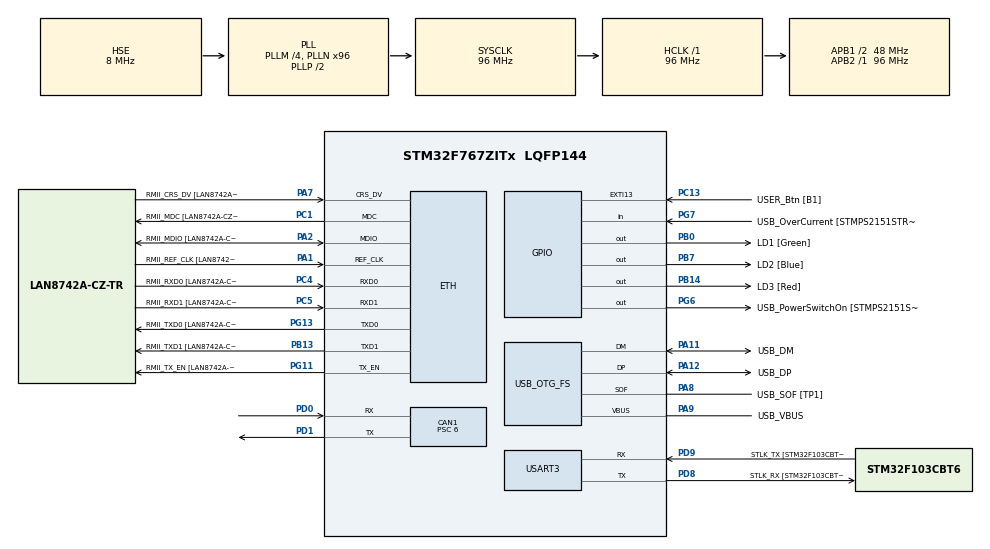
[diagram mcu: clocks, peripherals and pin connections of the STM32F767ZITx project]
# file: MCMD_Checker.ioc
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CAN1.BS1=CAN_BS1_6TQ
CAN1.CalculateBaudRate=1000000
CAN1.CalculateTimeBit=1000
CAN1.CalculateTimeQuantum=125.0
CAN1.Prescaler=6
CAN1.TXFP=ENABLE
Dma.Request0=USART3_TX
Dma.USART3_TX.0.Direction=DMA_MEMORY_TO_PERIPH
Dma.USART3_TX.0.FIFOMode=DMA_FIFOMODE_DISABLE
Dma.USART3_TX.0.Instance=DMA1_Stream3
Dma.USART3_TX.0.MemDataAlignment=DMA_MDATAALIGN_BYTE
Dma.USART3_TX.0.MemInc=DMA_MINC_ENABLE
Dma.USART3_TX.0.Mode=DMA_NORMAL
Dma.USART3_TX.0.PeriphDataAlignment=DMA_PDATAALIGN_BYTE
Dma.USART3_TX.0.PeriphInc=DMA_PINC_DISABLE
Dma.USART3_TX.0.Priority=DMA_PRIORITY_LOW
ETH.MediaInterface=HAL_ETH_RMII_MODE
ETH.PHY_Name=LAN8742A_PHY_ADDRESS
ETH.PHY_Value=0
ETH.PhyAddress=0
ETH.RxMode=ETH_RXINTERRUPT_MODE
FREERTOS.Tasks01=defaultTask,0,512,StartDefaultTask,Default,NULL,Static,defaultTaskBuffer,defaultTaskControlBlock;systemCheckTask,-1,512,StartSystemCheckTask,Default,NULL,Static,systemCheckTaskBuffer,systemCheckTaskControlBlock
FREERTOS.configENABLE_FPU=1
FREERTOS.configUSE_NEWLIB_REENTRANT=1
FREERTOS.configUSE_TIMERS=1
Mcu.Family=STM32F7
Mcu.Name=STM32F767ZITx
Mcu.Package=LQFP144
NVIC.CAN1_RX0_IRQn=true\:5\:0\:false\:false\:true\:true\:true\:true\:true
NVIC.CAN1_RX1_IRQn=true\:5\:0\:false\:false\:true\:true\:true\:true\:true
NVIC.CAN1_TX_IRQn=true\:5\:0\:false\:false\:true\:true\:true\:true\:true
NVIC.DMA1_Stream3_IRQn=true\:5\:0\:false\:false\:true\:true\:false\:true\:true
NVIC.ETH_IRQn=true\:5\:0\:false\:false\:true\:true\:false\:true\:true
NVIC.PriorityGroup=NVIC_PRIORITYGROUP_4
NVIC.TIM8_TRG_COM_TIM14_IRQn=true\:15\:0\:false\:false\:true\:false\:false\:true\:true
NVIC.TimeBase=TIM8_TRG_COM_TIM14_IRQn
NVIC.TimeBaseIP=TIM14
NVIC.USART3_IRQn=true\:5\:0\:false\:false\:true\:true\:true\:true\:true
PA1.GPIO_Label=RMII_REF_CLK [LAN8742A-CZ-TR_REFCLK0]
PA1.Mode=RMII
PA1.Signal=ETH_REF_CLK
PA10.GPIO_Label=USB_ID
PA10.Signal=USB_OTG_FS_ID
PA11.GPIO_Label=USB_DM
PA11.Mode=Device_Only
PA11.Signal=USB_OTG_FS_DM
PA12.GPIO_Label=USB_DP
PA12.Mode=Device_Only
PA12.Signal=USB_OTG_FS_DP
PA13.GPIO_Label=TMS
PA13.Mode=Serial_Wire
PA13.Signal=SYS_JTMS-SWDIO
PA14.GPIO_Label=TCK
PA14.Mode=Serial_Wire
PA14.Signal=SYS_JTCK-SWCLK
PA2.GPIO_Label=RMII_MDIO [LAN8742A-CZ-TR_MDIO]
PA2.Mode=RMII
PA2.Signal=ETH_MDIO
PA7.GPIO_Label=RMII_CRS_DV [LAN8742A-CZ-TR_CRS_DV]
PA7.Mode=RMII
PA7.Signal=ETH_CRS_DV
PA8.GPIO_Label=USB_SOF [TP1]
PA8.Mode=Activate_SOF_FS
PA8.Signal=USB_OTG_FS_SOF
PA9.GPIO_Label=USB_VBUS
PA9.Mode=Activate_VBUS
PA9.Signal=USB_OTG_FS_VBUS
PB0.GPIO_Label=LD1 [Green]
PB0.Signal=GPIO_Output
PB13.GPIO_Label=RMII_TXD1 [LAN8742A-CZ-TR_TXD1]
PB13.Mode=RMII
PB13.Signal=ETH_TXD1
PB14.GPIO_Label=LD3 [Red]
PB14.Signal=GPIO_Output
PB3.GPIO_Label=SWO
PB3.Signal=SYS_JTDO-SWO
PB7.GPIO_Label=LD2 [Blue]
PB7.Signal=GPIO_Output
PC1.GPIO_Label=RMII_MDC [LAN8742A-CZ-TR_MDC]
PC1.Mode=RMII
PC1.Signal=ETH_MDC
PC13.GPIO_Label=USER_Btn [B1]
PC13.Signal=GPXTI13
PC14/OSC32_IN.Mode=LSE-External-Oscillator
PC14/OSC32_IN.Signal=RCC_OSC32_IN
PC15/OSC32_OUT.Mode=LSE-External-Oscillator
PC15/OSC32_OUT.Signal=RCC_OSC32_OUT
PC4.GPIO_Label=RMII_RXD0 [LAN8742A-CZ-TR_RXD0]
PC4.Mode=RMII
PC4.Signal=ETH_RXD0
PC5.GPIO_Label=RMII_RXD1 [LAN8742A-CZ-TR_RXD1]
PC5.Mode=RMII
PC5.Signal=ETH_RXD1
PD0.Mode=CAN_Activate
PD0.Signal=CAN1_RX
PD1.Mode=CAN_Activate
PD1.Signal=CAN1_TX
PD8.GPIO_Label=STLK_RX [STM32F103CBT6_PA3]
PD8.Mode=Asynchronous
PD8.Signal=USART3_TX
PD9.GPIO_Label=STLK_TX [STM32F103CBT6_PA2]
PD9.Mode=Asynchronous
PD9.Signal=USART3_RX
PG11.GPIO_Label=RMII_TX_EN [LAN8742A-CZ-TR_TXEN]
PG11.Mode=RMII
PG11.Signal=ETH_TX_EN
PG13.GPIO_Label=RMII_TXD0 [LAN8742A-CZ-TR_TXD0]
PG13.Mode=RMII
PG13.Signal=ETH_TXD0
PG6.GPIO_Label=USB_PowerSwitchOn [STMPS2151STR_EN]
PG6.Signal=GPIO_Output
PG7.GPIO_Label=USB_OverCurrent [STMPS2151STR_FAULT]
PG7.Signal=GPIO_Input
PH0/OSC_IN.GPIO_Label=MCO [STM32F103CBT6_PA8]
PH0/OSC_IN.Mode=HSE-External-Clock-Source
PH0/OSC_IN.Signal=RCC_OSC_IN
PH1/OSC_OUT.Mode=HSE-External-Clock-Source
PH1/OSC_OUT.Signal=RCC_OSC_OUT
ProjectManager.HeapSize=0x200
ProjectManager.StackSize=0x400
ProjectManager.TargetToolchain=STM32CubeIDE
RCC.48MHZClocksFreq_Value=24000000
RCC.AHBFreq_Value=96000000
RCC.APB1CLKDivider=RCC_HCLK_DIV2
RCC.APB1Freq_Value=48000000
RCC.APB1TimFreq_Value=96000000
RCC.APB2Freq_Value=96000000
RCC.APB2TimFreq_Value=96000000
RCC.CortexFreq_Value=96000000
RCC.HCLKFreq_Value=96000000
RCC.HSE_VALUE=8000000
RCC.HSI_VALUE=16000000
RCC.PLLM=4
RCC.PLLMUL=RCC_PLL_MUL9
RCC.PLLN=96
RCC.PLLQ=4
RCC.PRESCALERUSB=RCC_USBCLKSOURCE_PLL_DIV1_5
RCC.SYSCLKFreq_VALUE=96000000
RCC.SYSCLKSource=RCC_SYSCLKSOURCE_PLLCLK
RCC.SYSCLKSourceVirtual=RCC_SYSCLKSOURCE_PLLCLK
RCC.USBFreq_Value=48000000
RCC.VCOOutputFreq_Value=192000000
USART3.VirtualMode-Asynchronous=VM_ASYNC
USB_OTG_FS.VirtualMode=Device_Only
VP_FREERTOS_VS_CMSIS_V1.Mode=CMSIS_V1
VP_SYS_VS_tim14.Mode=TIM14
board=NUCLEO-F767ZI

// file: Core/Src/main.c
/* USER CODE BEGIN Header */
/**
  ******************************************************************************
  * @file           : main.c
  * @brief          : Main program body
  ******************************************************************************
  * @attention
  *
  * Copyright (c) 2023 STMicroelectronics.
  * All rights reserved.
  *
  * This software is licensed under terms that can be found in the LICENSE file
  * in the root directory of this software component.
  * If no LICENSE file comes with this software, it is provided AS-IS.
  *
  ******************************************************************************
  */
/* USER CODE END Header */
#include "main.h"
#include "string.h"
#include "cmsis_os.h"

/* USER CODE BEGIN Includes */
#include <stdio.h>
#include <CAN_Main.h>
#include <UDPController.h>
#include <math.h>
/* USER CODE END Includes */

#if defined ( __ICCARM__ ) /*!< IAR Compiler */
#pragma location=0x2007c000
ETH_DMADescTypeDef  DMARxDscrTab[ETH_RX_DESC_CNT]; /* Ethernet Rx DMA Descriptors */
#pragma location=0x2007c0a0
ETH_DMADescTypeDef  DMATxDscrTab[ETH_TX_DESC_CNT]; /* Ethernet Tx DMA Descriptors */

#elif defined ( __CC_ARM )  /* MDK ARM Compiler */

__attribute__((at(0x2007c000))) ETH_DMADescTypeDef  DMARxDscrTab[ETH_RX_DESC_CNT]; /* Ethernet Rx DMA Descriptors */
__attribute__((at(0x2007c0a0))) ETH_DMADescTypeDef  DMATxDscrTab[ETH_TX_DESC_CNT]; /* Ethernet Tx DMA Descriptors */

#elif defined ( __GNUC__ ) /* GNU Compiler */

ETH_DMADescTypeDef DMARxDscrTab[ETH_RX_DESC_CNT] __attribute__((section(".RxDecripSection"))); /* Ethernet Rx DMA Descriptors */
ETH_DMADescTypeDef DMATxDscrTab[ETH_TX_DESC_CNT] __attribute__((section(".TxDecripSection")));   /* Ethernet Tx DMA Descriptors */
#endif

ETH_TxPacketConfig TxConfig;

CAN_HandleTypeDef hcan1;

ETH_HandleTypeDef heth;

UART_HandleTypeDef huart3;
DMA_HandleTypeDef hdma_usart3_tx;

PCD_HandleTypeDef hpcd_USB_OTG_FS;

osThreadId defaultTaskHandle;
uint32_t defaultTaskBuffer[ 512 ];
osStaticThreadDef_t defaultTaskControlBlock;
osThreadId systemCheckTaskHandle;
uint32_t systemCheckTaskBuffer[ 512 ];
osStaticThreadDef_t systemCheckTaskControlBlock;
/* USER CODE BEGIN PV */
//CANモジュール基盤の設�?
NUM_OF_DEVICES num_of_devices;

//mcmdの設�?
MCMD_HandleTypedef mcmd4M1_struct;
MCMD_Feedback_Typedef mcmdM1_fb;//MCMDM1からのフィードバ�?クを受け取る構�??体を定義
MCMD_HandleTypedef mcmd4M2_struct;
MCMD_Feedback_Typedef mcmdM2_fb;//MCMDM2からのフィードバ�?クを受け取る構�??体を定義

//サーボ�?�設�?
CANServo_Param_Typedef servo_param;
CAN_Device servo_device;

//エアシリの設�?
CAN_Device air_device;

/* USER CODE END PV */

void SystemClock_Config(void);
static void MX_GPIO_Init(void);
static void MX_DMA_Init(void);
static void MX_USART3_UART_Init(void);
static void MX_USB_OTG_FS_PCD_Init(void);
static void MX_CAN1_Init(void);
static void MX_ETH_Init(void);
void StartDefaultTask(void const * argument);
void StartSystemCheckTask(void const * argument);

/* USER CODE BEGIN 0 */
#ifdef __GNUC__
#define PUTCHAR_PROTOTYPE int __io_putchar(uint8_t ch)
#else
#define PUTCHAR_PROTYPE int fputc(int ch,FILE *f)
#endif

PUTCHAR_PROTOTYPE {
    HAL_UART_Transmit(&huart3, &ch, 1, 500);
    return ch;
}

void HAL_CAN_TxMailbox0CompleteCallback(CAN_HandleTypeDef *hcan){
    WhenTxMailbox0_1_2CompleteCallbackCalled();
}

void HAL_CAN_TxMailbox0AbortCallback(CAN_HandleTypeDef *hcan){
    WhenTxMailbox0_1_2AbortCallbackCalled();
}

void HAL_CAN_TxMailbox1CompleteCallback(CAN_HandleTypeDef *hcan){
    WhenTxMailbox0_1_2CompleteCallbackCalled();
}

void HAL_CAN_TxMailbox1AbortCallback(CAN_HandleTypeDef *hcan){
    WhenTxMailbox0_1_2AbortCallbackCalled();
}

void HAL_CAN_TxMailbox2CompleteCallback(CAN_HandleTypeDef *hcan){
    WhenTxMailbox0_1_2CompleteCallbackCalled();
}

void HAL_CAN_TxMailbox2AbortCallback(CAN_HandleTypeDef *hcan){
    WhenTxMailbox0_1_2AbortCallbackCalled();
}

void HAL_CAN_RxFifo0MsgPendingCallback(CAN_HandleTypeDef *hcan){
    WhenCANRxFifo0MsgPending(hcan, &num_of_devices);
}

//can通信の設�?
void canSetting(){
	printf("Start Initializing CAN System:Begin\n\r");
	HAL_Delay(10);

	CAN_SystemInit(&hcan1); // F7のCAN通信のinit

	// �?バイス数の設�?
	num_of_devices.mcmd3 = 1;
	num_of_devices.mcmd4 = 0;
	num_of_devices.air = 0;
	num_of_devices.servo = 0;

	printf("Start Initializing CAN System:End\n\r");
	HAL_Delay(10);
	CAN_WaitConnect(&num_of_devices);  // 設定された全てのCANモジュール基板との接続が確認できるまで�?�?
}

//モータ1のmcmd設�?
void mcmdMoter1Setting(){
	    // 接続�?��?�MCMDの設�?
	    mcmd4M1_struct.device.node_type = NODE_MCMD3;  // nodeのタイ�?
	    mcmd4M1_struct.device.node_id = 5;  // 基板の番号 (基板上�?�半固定抵抗を回す事で設定できる)
	    mcmd4M1_struct.device.device_num = 0;  // モーターの番号(0→M1,1→M2)

	    // 制御パラメータの設�?
	    mcmd4M1_struct.ctrl_param.ctrl_type = MCMD_CTRL_DUTY;  //制御タイプを設�?
	    mcmd4M1_struct.ctrl_param.PID_param.kp = 0.3f;  // Pゲイン 1.0
	    mcmd4M1_struct.ctrl_param.PID_param.ki = 0.0f;  // Iゲイン 0.0
	    mcmd4M1_struct.ctrl_param.PID_param.kd = 0.0f;  // Dゲイン 0.0 (Dゲインは使�?にくい)
	    mcmd4M1_struct.ctrl_param.accel_limit = ACCEL_LIMIT_ENABLE;  // PIDの偏差をclipする�?
	    mcmd4M1_struct.ctrl_param.accel_limit_size = 2.0f;  // PIDの偏差をclipする場合�?�絶対値のmax値
	    mcmd4M1_struct.ctrl_param.feedback = MCMD_FB_ENABLE;  // MCMDからF7にフィードバ�?クを�?�信するか否�?
	    mcmd4M1_struct.ctrl_param.timup_monitor = TIMUP_MONITOR_DISABLE;  // timeupは未実�?なのでDISABLE�?
	    mcmd4M1_struct.enc_dir = MCMD_DIR_FW;  // Encoderの回転方向設�?
	    mcmd4M1_struct.rot_dir = MCMD_DIR_BC;  // モーターの回転方向設�?
	    mcmd4M1_struct.quant_per_unit = 59.0/6400.0f;  // エンコー�?ーの�?解能に対する制御値の変化量�?�割�?

	    // 原点サーチ�?�設�?
	    mcmd4M1_struct.limit_sw_type = LIMIT_SW_NO;  // 原点サーチにNomaly Closedのスイ�?チを用�?�?
	    mcmd4M1_struct.calib = CALIBRATION_ENABLE;  // 原点サーチを行うかど�?か�??
	    mcmd4M1_struct.calib_duty = -0.2f;  // 原点サーチ時のduty
	    mcmd4M1_struct.offset = 0.0f;  // 原点のオフセ�?�?
	    mcmd4M1_struct.fb_type = MCMD_FB_POS;  // 読み取った位置�?報をF7にフィードバ�?クする�?

	    // パラメータなどの設定と動作命令をMCMDに送信する
		 MCMD_init(&mcmd4M1_struct);
		 HAL_Delay(10);
		 MCMD_Calib(&mcmd4M1_struct);  // キャリブレーションを行う
		 HAL_Delay(5000);  // キャリブレーションが終わるまで�?つ
}

//モータ2のmcmd設�?
void mcmdMoter2Setting(){
	    // 接続�?��?�MCMDの設�?
	    mcmd4M2_struct.device.node_type = NODE_MCMD3;  // nodeのタイ�?
	    mcmd4M2_struct.device.node_id = 5;  // 基板の番号 (基板上�?�半固定抵抗を回す事で設定できる)
	    mcmd4M2_struct.device.device_num = 1;  // モーターの番号(0→M1,1→M2)

	    // 制御パラメータの設�?
	    mcmd4M2_struct.ctrl_param.ctrl_type = MCMD_CTRL_DUTY;  //制御タイプを設�?
	    mcmd4M2_struct.ctrl_param.PID_param.kp = 0.3f;  // Pゲイン 1.0
	    mcmd4M2_struct.ctrl_param.PID_param.ki = 0.0f;  // Iゲイン 0.0
	    mcmd4M2_struct.ctrl_param.PID_param.kd = 0.0f;  // Dゲイン 0.0 (Dゲインは使�?にくい)
	    mcmd4M2_struct.ctrl_param.accel_limit = ACCEL_LIMIT_ENABLE;  // PIDの偏差をclipする�?
	    mcmd4M2_struct.ctrl_param.accel_limit_size = 2.0f;  // PIDの偏差をclipする場合�?�絶対値のmax値
	    mcmd4M2_struct.ctrl_param.feedback = MCMD_FB_ENABLE;  // MCMDからF7にフィードバ�?クを�?�信するか否�?
	    mcmd4M2_struct.ctrl_param.timup_monitor = TIMUP_MONITOR_DISABLE;  // timeupは未実�?なのでDISABLE�?
	    mcmd4M2_struct.enc_dir = MCMD_DIR_FW;  // Encoderの回転方向設�?
	    mcmd4M2_struct.rot_dir = MCMD_DIR_BC;  // モーターの回転方向設�?
	    mcmd4M2_struct.quant_per_unit = 59.0/6400.0f;  // エンコー�?ーの�?解能に対する制御値の変化量�?�割�?

	    // 原点サーチ�?�設�?
	    mcmd4M2_struct.limit_sw_type = LIMIT_SW_NO;  // 原点サーチにNomaly Closedのスイ�?チを用�?�?
	    mcmd4M2_struct.calib = CALIBRATION_ENABLE;  // 原点サーチを行うかど�?か�??
	    mcmd4M2_struct.calib_duty = -0.2f;  // 原点サーチ時のduty
	    mcmd4M2_struct.offset = 0.0f;  // 原点のオフセ�?�?
	    mcmd4M2_struct.fb_type = MCMD_FB_POS;  // 読み取った位置�?報をF7にフィードバ�?クする�?

	    // パラメータなどの設定と動作命令をMCMDに送信する
		 MCMD_init(&mcmd4M2_struct);
		 HAL_Delay(10);
		 MCMD_Calib(&mcmd4M2_struct);  // キャリブレーションを行う
		 HAL_Delay(5000);  // キャリブレーションが終わるまで�?つ
}

/* USER CODE END 0 */

int main(void)
{

  /* MCU Configuration--------------------------------------------------------*/

  /* Reset of all peripherals, Initializes the Flash interface and the Systick. */
  HAL_Init();

  /* Configure the system clock */
  SystemClock_Config();

  /* Initialize all configured peripherals */
  MX_GPIO_Init();
  MX_DMA_Init();
  MX_USART3_UART_Init();
  MX_USB_OTG_FS_PCD_Init();
  MX_CAN1_Init();
  MX_ETH_Init();
  /* USER CODE BEGIN 2 */

  //記事ではmcmdなどの初期化コードを描くことになって�?る�?��?
  canSetting();
//  servoSetting();
  mcmdMoter1Setting();
  mcmdMoter2Setting();
//  airSetting();
  printf("calibrationFinished\r\n");

  /* USER CODE END 2 */

  /* Create the thread(s) */
  /* definition and creation of defaultTask */
  osThreadStaticDef(defaultTask, StartDefaultTask, osPriorityNormal, 0, 512, defaultTaskBuffer, &defaultTaskControlBlock);
  defaultTaskHandle = osThreadCreate(osThread(defaultTask), NULL);

  /* definition and creation of systemCheckTask */
  osThreadStaticDef(systemCheckTask, StartSystemCheckTask, osPriorityBelowNormal, 0, 512, systemCheckTaskBuffer, &systemCheckTaskControlBlock);
  systemCheckTaskHandle = osThreadCreate(osThread(systemCheckTask), NULL);

  /* Start scheduler */
  osKernelStart();

  /* We should never get here as control is now taken by the scheduler */

  /* Infinite loop */
  while (1)
  {

  }
}

void SystemClock_Config(void)
{
  RCC_OscInitTypeDef RCC_OscInitStruct = {0};
  RCC_ClkInitTypeDef RCC_ClkInitStruct = {0};

  /** Configure LSE Drive Capability
  */
  HAL_PWR_EnableBkUpAccess();

  /** Configure the main internal regulator output voltage
  */
  __HAL_RCC_PWR_CLK_ENABLE();
  __HAL_PWR_VOLTAGESCALING_CONFIG(PWR_REGULATOR_VOLTAGE_SCALE3);

  /** Initializes the RCC Oscillators according to the specified parameters
  * in the RCC_OscInitTypeDef structure.
  */
  RCC_OscInitStruct.OscillatorType = RCC_OSCILLATORTYPE_HSE;
  RCC_OscInitStruct.HSEState = RCC_HSE_BYPASS;
  RCC_OscInitStruct.PLL.PLLState = RCC_PLL_ON;
  RCC_OscInitStruct.PLL.PLLSource = RCC_PLLSOURCE_HSE;
  RCC_OscInitStruct.PLL.PLLM = 4;
  RCC_OscInitStruct.PLL.PLLN = 96;
  RCC_OscInitStruct.PLL.PLLP = RCC_PLLP_DIV2;
  RCC_OscInitStruct.PLL.PLLQ = 4;
  RCC_OscInitStruct.PLL.PLLR = 2;
  if (HAL_RCC_OscConfig(&RCC_OscInitStruct) != HAL_OK)
  {
    Error_Handler();
  }

  /** Activate the Over-Drive mode
  */
  if (HAL_PWREx_EnableOverDrive() != HAL_OK)
  {
    Error_Handler();
  }

  /** Initializes the CPU, AHB and APB buses clocks
  */
  RCC_ClkInitStruct.ClockType = RCC_CLOCKTYPE_HCLK|RCC_CLOCKTYPE_SYSCLK
                              |RCC_CLOCKTYPE_PCLK1|RCC_CLOCKTYPE_PCLK2;
  RCC_ClkInitStruct.SYSCLKSource = RCC_SYSCLKSOURCE_PLLCLK;
  RCC_ClkInitStruct.AHBCLKDivider = RCC_SYSCLK_DIV1;
  RCC_ClkInitStruct.APB1CLKDivider = RCC_HCLK_DIV2;
  RCC_ClkInitStruct.APB2CLKDivider = RCC_HCLK_DIV1;

  if (HAL_RCC_ClockConfig(&RCC_ClkInitStruct, FLASH_LATENCY_3) != HAL_OK)
  {
    Error_Handler();
  }
}

static void MX_CAN1_Init(void)
{

  hcan1.Instance = CAN1;
  hcan1.Init.Prescaler = 6;
  hcan1.Init.Mode = CAN_MODE_NORMAL;
  hcan1.Init.SyncJumpWidth = CAN_SJW_1TQ;
  hcan1.Init.TimeSeg1 = CAN_BS1_6TQ;
  hcan1.Init.TimeSeg2 = CAN_BS2_1TQ;
  hcan1.Init.TimeTriggeredMode = DISABLE;
  hcan1.Init.AutoBusOff = DISABLE;
  hcan1.Init.AutoWakeUp = DISABLE;
  hcan1.Init.AutoRetransmission = DISABLE;
  hcan1.Init.ReceiveFifoLocked = DISABLE;
  hcan1.Init.TransmitFifoPriority = ENABLE;
  if (HAL_CAN_Init(&hcan1) != HAL_OK)
  {
    Error_Handler();
  }

}

static void MX_ETH_Init(void)
{

   static uint8_t MACAddr[6];

  heth.Instance = ETH;
  MACAddr[0] = 0x00;
  MACAddr[1] = 0x80;
  MACAddr[2] = 0xE1;
  MACAddr[3] = 0x00;
  MACAddr[4] = 0x00;
  MACAddr[5] = 0x00;
  heth.Init.MACAddr = &MACAddr[0];
  heth.Init.MediaInterface = HAL_ETH_RMII_MODE;
  heth.Init.TxDesc = DMATxDscrTab;
  heth.Init.RxDesc = DMARxDscrTab;
  heth.Init.RxBuffLen = 1524;

  if (HAL_ETH_Init(&heth) != HAL_OK)
  {
    Error_Handler();
  }

  memset(&TxConfig, 0 , sizeof(ETH_TxPacketConfig));
  TxConfig.Attributes = ETH_TX_PACKETS_FEATURES_CSUM | ETH_TX_PACKETS_FEATURES_CRCPAD;
  TxConfig.ChecksumCtrl = ETH_CHECKSUM_IPHDR_PAYLOAD_INSERT_PHDR_CALC;
  TxConfig.CRCPadCtrl = ETH_CRC_PAD_INSERT;

}

static void MX_USART3_UART_Init(void)
{

  huart3.Instance = USART3;
  huart3.Init.BaudRate = 115200;
  huart3.Init.WordLength = UART_WORDLENGTH_8B;
  huart3.Init.StopBits = UART_STOPBITS_1;
  huart3.Init.Parity = UART_PARITY_NONE;
  huart3.Init.Mode = UART_MODE_TX_RX;
  huart3.Init.HwFlowCtl = UART_HWCONTROL_NONE;
  huart3.Init.OverSampling = UART_OVERSAMPLING_16;
  huart3.Init.OneBitSampling = UART_ONE_BIT_SAMPLE_DISABLE;
  huart3.AdvancedInit.AdvFeatureInit = UART_ADVFEATURE_NO_INIT;
  if (HAL_UART_Init(&huart3) != HAL_OK)
  {
    Error_Handler();
  }

}

static void MX_USB_OTG_FS_PCD_Init(void)
{

  hpcd_USB_OTG_FS.Instance = USB_OTG_FS;
  hpcd_USB_OTG_FS.Init.dev_endpoints = 6;
  hpcd_USB_OTG_FS.Init.speed = PCD_SPEED_FULL;
  hpcd_USB_OTG_FS.Init.dma_enable = DISABLE;
  hpcd_USB_OTG_FS.Init.phy_itface = PCD_PHY_EMBEDDED;
  hpcd_USB_OTG_FS.Init.Sof_enable = ENABLE;
  hpcd_USB_OTG_FS.Init.low_power_enable = DISABLE;
  hpcd_USB_OTG_FS.Init.lpm_enable = DISABLE;
  hpcd_USB_OTG_FS.Init.vbus_sensing_enable = ENABLE;
  hpcd_USB_OTG_FS.Init.use_dedicated_ep1 = DISABLE;
  if (HAL_PCD_Init(&hpcd_USB_OTG_FS) != HAL_OK)
  {
    Error_Handler();
  }

}

static void MX_DMA_Init(void)
{

  /* DMA controller clock enable */
  __HAL_RCC_DMA1_CLK_ENABLE();

  /* DMA interrupt init */
  /* DMA1_Stream3_IRQn interrupt configuration */
  HAL_NVIC_SetPriority(DMA1_Stream3_IRQn, 5, 0);
  HAL_NVIC_EnableIRQ(DMA1_Stream3_IRQn);

}

static void MX_GPIO_Init(void)
{
  GPIO_InitTypeDef GPIO_InitStruct = {0};

  /* GPIO Ports Clock Enable */
  __HAL_RCC_GPIOC_CLK_ENABLE();
  __HAL_RCC_GPIOH_CLK_ENABLE();
  __HAL_RCC_GPIOA_CLK_ENABLE();
  __HAL_RCC_GPIOB_CLK_ENABLE();
  __HAL_RCC_GPIOD_CLK_ENABLE();
  __HAL_RCC_GPIOG_CLK_ENABLE();

  /*Configure GPIO pin Output Level */
  HAL_GPIO_WritePin(GPIOB, LD1_Pin|LD3_Pin|LD2_Pin, GPIO_PIN_RESET);

  /*Configure GPIO pin Output Level */
  HAL_GPIO_WritePin(USB_PowerSwitchOn_GPIO_Port, USB_PowerSwitchOn_Pin, GPIO_PIN_RESET);

  /*Configure GPIO pin : USER_Btn_Pin */
  GPIO_InitStruct.Pin = USER_Btn_Pin;
  GPIO_InitStruct.Mode = GPIO_MODE_IT_RISING;
  GPIO_InitStruct.Pull = GPIO_NOPULL;
  HAL_GPIO_Init(USER_Btn_GPIO_Port, &GPIO_InitStruct);

  /*Configure GPIO pins : LD1_Pin LD3_Pin LD2_Pin */
  GPIO_InitStruct.Pin = LD1_Pin|LD3_Pin|LD2_Pin;
  GPIO_InitStruct.Mode = GPIO_MODE_OUTPUT_PP;
  GPIO_InitStruct.Pull = GPIO_NOPULL;
  GPIO_InitStruct.Speed = GPIO_SPEED_FREQ_LOW;
  HAL_GPIO_Init(GPIOB, &GPIO_InitStruct);

  /*Configure GPIO pin : USB_PowerSwitchOn_Pin */
  GPIO_InitStruct.Pin = USB_PowerSwitchOn_Pin;
  GPIO_InitStruct.Mode = GPIO_MODE_OUTPUT_PP;
  GPIO_InitStruct.Pull = GPIO_NOPULL;
  GPIO_InitStruct.Speed = GPIO_SPEED_FREQ_LOW;
  HAL_GPIO_Init(USB_PowerSwitchOn_GPIO_Port, &GPIO_InitStruct);

  /*Configure GPIO pin : USB_OverCurrent_Pin */
  GPIO_InitStruct.Pin = USB_OverCurrent_Pin;
  GPIO_InitStruct.Mode = GPIO_MODE_INPUT;
  GPIO_InitStruct.Pull = GPIO_NOPULL;
  HAL_GPIO_Init(USB_OverCurrent_GPIO_Port, &GPIO_InitStruct);

}

void StartDefaultTask(void const * argument)
{
  /* USER CODE BEGIN 5 */
  HAL_GPIO_WritePin(GPIOB, LD1_Pin, GPIO_PIN_RESET);  // LED1 消�?�
  /* Infinite loop */
  for(;;)
  {
	uint16_t button_data = UDPController_GetControllerButtons();  // buttonの入力を取�?
	if((button_data & CONTROLLER_CIRCLE) != 0){  // oボタンが押されて�?る�?��?
	   HAL_GPIO_WritePin(GPIOB, LD1_Pin, GPIO_PIN_SET);  // LED1 点灯
	}else{
	   HAL_GPIO_WritePin(GPIOB, LD1_Pin, GPIO_PIN_RESET);  // LED1 消�?�

	}
	osDelay(100);
  }
  /* USER CODE END 5 */
}

/* USER CODE BEGIN Header_StartSystemCheckTask */
/**
* @brief Function implementing the systemCheckTask thread.
* @param argument: Not used
* @retval None
*
*/
//M1の動作確認用
void mcmdMoter1Checker(){
		 MCMD_SetTarget(&mcmd4M1_struct, 0.5f);  // 目標�?�を設�?
		 osDelay(10);
		 MCMD_Control_Enable(&mcmd4M1_struct);  // 制御開�?
		 printf("MCMDM1controllStart");
		 osDelay(1000);
		 MCMD_SetTarget(&mcmd4M1_struct, 0.00f);  // 目標�?�を設�?
	}

//M2の動作確認用
void mcmdMoter2Checker(){
		 MCMD_SetTarget(&mcmd4M2_struct, 0.5f);  // 目標�?�を設�?
		 osDelay(10);
		 MCMD_Control_Enable(&mcmd4M2_struct);  // 制御開�?
		 printf("MCMDM1controllStart");
		 osDelay(1000);
		 MCMD_SetTarget(&mcmd4M2_struct, 0.00f);  // 目標�?�を設�?
	}

//M1のエンコー�?ー確認用
void mcmdEncorder1Checker(){//無限ループ�?�中で実�?
	mcmdM1_fb = Get_MCMD_Feedback(&(mcmd4M1_struct.device));
	printf("value of M1 %d\r\n",(int)(mcmdM1_fb.value));
}

//M2のエンコー�?ー確認用
void mcmdEncorder2Checker(){//無限ループ�?�中で実�?
	mcmdM2_fb = Get_MCMD_Feedback(&(mcmd4M2_struct.device));
	printf("value of M2 %d\r\n",(int)(mcmdM2_fb.value));
}

//
void chenge_control_chekcer(){

}
/* USER CODE END Header_StartSystemCheckTask */
void StartSystemCheckTask(void const * argument)
{
  /* USER CODE BEGIN StartSystemCheckTask */
	mcmdMoter1Checker();
	mcmdMoter2Checker();
  /* Infinite loop */
  for(;;)
  {
	  mcmdEncorder1Checker();
	  mcmdEncorder2Checker();
	  osDelay(1000);
  }
  /* USER CODE END StartSystemCheckTask */
}

void HAL_TIM_PeriodElapsedCallback(TIM_HandleTypeDef *htim)
{
  if (htim->Instance == TIM14) {
    HAL_IncTick();
  }
}

void Error_Handler(void)
{
  /* USER CODE BEGIN Error_Handler_Debug */
  /* User can add his own implementation to report the HAL error return state */
  __disable_irq();
  while (1)
  {
	  printf("error\r\n");
	  HAL_GPIO_WritePin(GPIOB, LD1_Pin, GPIO_PIN_SET);  // LED1点灯
	  osDelay(100);
  }
  /* USER CODE END Error_Handler_Debug */
}
